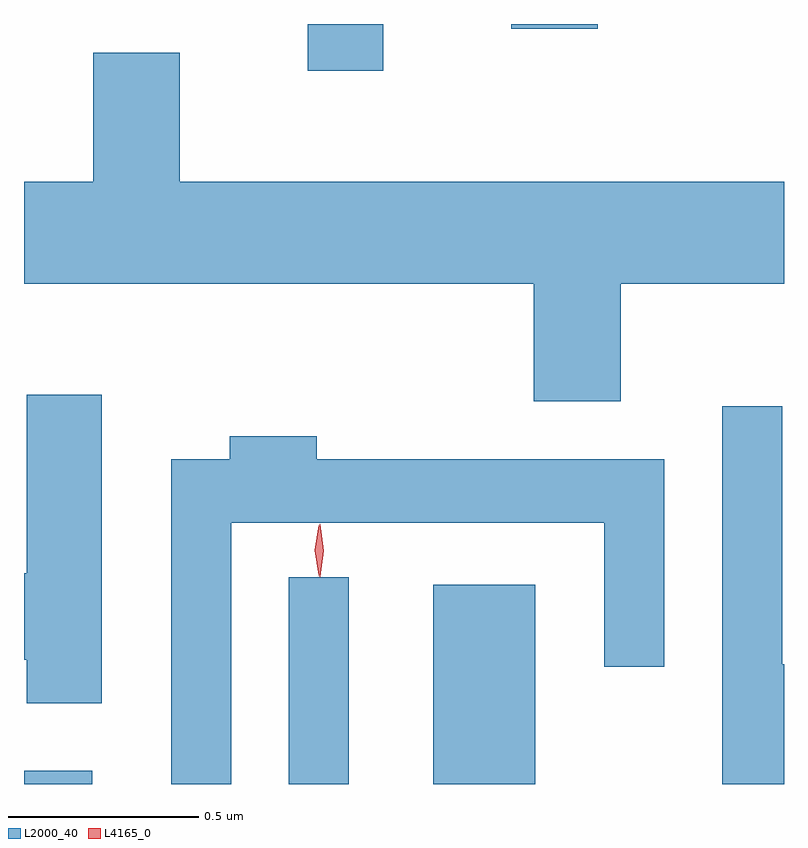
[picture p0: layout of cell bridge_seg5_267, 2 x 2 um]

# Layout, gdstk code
import gdstk
lib = gdstk.Library(unit=1e-6, precision=1e-09)
def R(c, l, rs):  # rectangles x0, y0, x1, y1
    for r in rs: c.add(gdstk.rectangle(r[:2], r[2:], *l))
def P(c, l, *ps):  # polygons
    for p in ps: c.add(gdstk.Polygon(p, *l))
L2000_40 = (2000, 40)
L4165_0 = (4165, 0)

bridge_seg5_267 = lib.new_cell('bridge_seg5_267')
R(bridge_seg5_267, L2000_40, [(1334.909,1431.059,1335.089,1431.094), (1335.606,1431.059,1335.764,1431.603), (1335.986,1431.059,1336.254,1431.584), (1335.656,1432.936,1335.854,1433.059), (1336.191,1433.046,1336.419,1433.059)])
P(bridge_seg5_267, L2000_40, [(1336.479,1432.376),(1336.909,1432.376),(1336.909,1432.644),(1335.319,1432.644),(1335.319,1432.984),(1335.091,1432.984),(1335.091,1432.644),(1334.909,1432.644),(1334.909,1432.376),(1336.251,1432.376),(1336.251,1432.066),(1336.479,1432.066)],
  [(1335.114,1432.084),(1334.916,1432.084),(1334.916,1431.614),(1334.909,1431.614),(1334.909,1431.386),(1334.916,1431.386),(1334.916,1431.271),(1335.114,1431.271)],
  [(1336.909,1431.374),(1336.904,1431.374),(1336.904,1432.053),(1336.746,1432.053),(1336.746,1431.059),(1336.909,1431.059)],
  [(1335.454,1431.746),(1336.436,1431.746),(1336.436,1431.368),(1336.594,1431.368),(1336.594,1431.914),(1335.679,1431.914),(1335.679,1431.974),(1335.451,1431.974),(1335.451,1431.914),(1335.296,1431.914),(1335.296,1431.059),(1335.454,1431.059)])
P(bridge_seg5_267, L4165_0, [(1335.684,1431.607),(1335.684,1431.608),(1335.674,1431.674),(1335.684,1431.74),(1335.684,1431.74),(1335.684,1431.74),(1335.694,1431.674),(1335.685,1431.608)],
  [(1335.688,1431.603),(1335.687,1431.604),(1335.678,1431.673),(1335.687,1431.742),(1335.688,1431.743),(1335.688,1431.742),(1335.698,1431.673),(1335.688,1431.604)])

lib.write_gds('bridge_seg5_267.gds')
